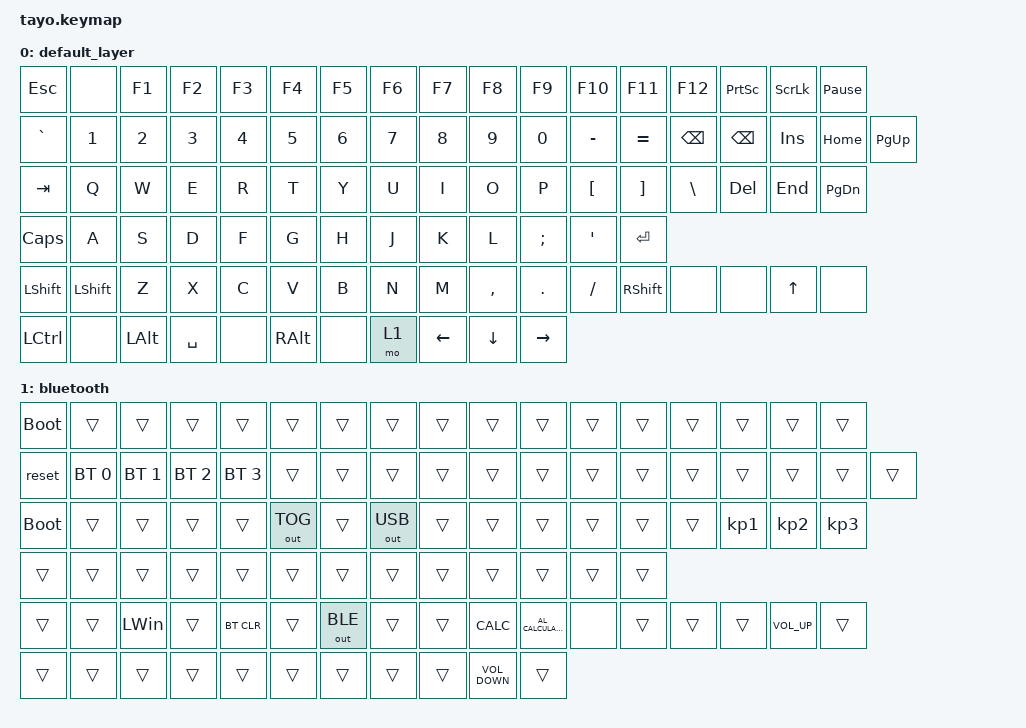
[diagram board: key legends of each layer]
/*
 * Copyright (c) 2021 Nick Winans
 *
 * SPDX-License-Identifier: MIT
 */

#include <behaviors.dtsi>
#include <dt-bindings/zmk/bt.h>
#include <dt-bindings/zmk/keys.h>
#include <dt-bindings/zmk/outputs.h>

/ {
    macros {
        macrocaps: macrocaps {
            compatible = "zmk,behavior-macro";
            #binding-cells = <0>;
            bindings = <&mt LGUI CAPS>;
            label = "MACROCAPS";
            tap-ms = <200>;
        };
    };

    keymap {
        compatible = "zmk,keymap";

        default_layer {
            bindings = <
&kp ESC    &none      &kp F1        &kp F2     &kp F3  &kp F4    &kp F5  &kp F6  &kp F7    &kp F8     &kp F9     &kp F10    &kp F11    &kp F12   &kp PRINTSCREEN  &kp SCROLLLOCK  &kp PAUSE_BREAK
&kp GRAVE  &kp N1     &kp N2        &kp N3     &kp N4  &kp N5    &kp N6  &kp N7  &kp N8    &kp N9     &kp N0     &kp MINUS  &kp EQUAL  &kp BSPC  &kp BSPC         &kp INSERT      &kp HOME         &kp PAGE_UP
&kp TAB    &kp Q      &kp W         &kp E      &kp R   &kp T     &kp Y   &kp U   &kp I     &kp O      &kp P      &kp LBKT   &kp RBKT   &kp BSLH  &kp DELETE       &kp END         &kp PAGE_DOWN
&kp CAPS   &kp A      &kp S         &kp D      &kp F   &kp G     &kp H   &kp J   &kp K     &kp L      &kp SEMI   &kp SQT    &kp RET
&kp LSHFT  &kp LSHFT  &kp Z         &kp X      &kp C   &kp V     &kp B   &kp N   &kp M     &kp COMMA  &kp DOT    &kp FSLH   &kp RSHFT  &none     &none            &kp UP          &none
&kp LCTRL  &none      &kp LEFT_ALT  &kp SPACE  &none   &kp RALT  &none   &mo 1   &kp LEFT  &kp DOWN   &kp RIGHT
            >;
        };

        bluetooth {
            bindings = <
&bootloader  &trans        &trans        &trans        &trans        &trans        &trans        &trans        &trans  &trans             &trans               &trans  &trans  &trans  &trans           &trans           &trans
&reset       &bt BT_SEL 0  &bt BT_SEL 1  &bt BT_SEL 2  &bt BT_SEL 3  &trans        &trans        &trans        &trans  &trans             &trans               &trans  &trans  &trans  &trans           &trans           &trans           &trans
&bootloader  &trans        &trans        &trans        &trans        &out OUT_TOG  &trans        &out OUT_USB  &trans  &trans             &trans               &trans  &trans  &trans  &kp KP_NUMBER_1  &kp KP_NUMBER_2  &kp KP_NUMBER_3
&trans       &trans        &trans        &trans        &trans        &trans        &trans        &trans        &trans  &trans             &trans               &trans  &trans
&trans       &trans        &kp LEFT_WIN  &trans        &bt BT_CLR    &trans        &out OUT_BLE  &trans        &trans  &kp K_CALC         &kp C_AL_CALCULATOR  &none   &trans  &trans  &trans           &kp C_VOLUME_UP  &trans
&trans       &trans        &trans        &trans        &trans        &trans        &trans        &trans        &trans  &kp C_VOLUME_DOWN  &trans
            >;
        };
    };
};
